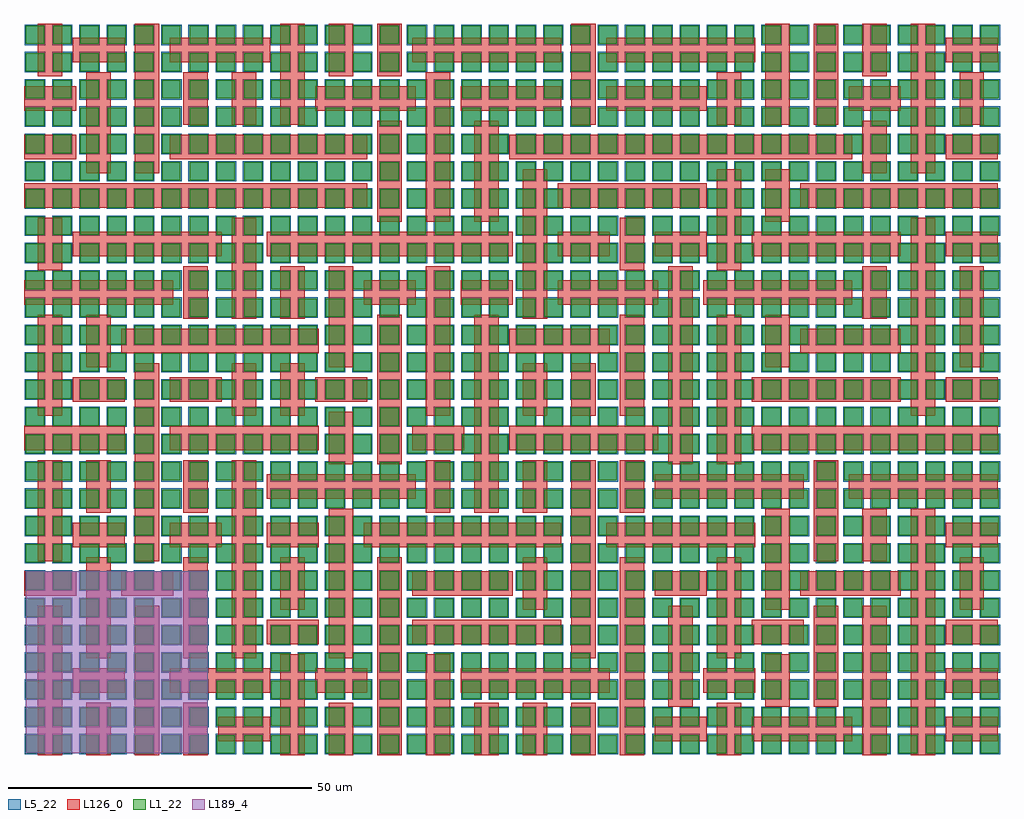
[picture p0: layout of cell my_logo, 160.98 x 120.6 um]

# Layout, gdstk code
import gdstk
lib = gdstk.Library(unit=1e-6, precision=1e-09)
def R(c, l, rs):  # rectangles x0, y0, x1, y1
    for r in rs: c.add(gdstk.rectangle(r[:2], r[2:], *l))
def A(c, l, x, y, w, h, nx, ny, dx, dy):  # array of equal rectangles
    R(c, l, [(x+i*dx, y+j*dy, x+i*dx+w, y+j*dy+h) for i in range(nx) for j in range(ny)])
L1_22 = (1, 22)
L5_22 = (5, 22)
L126_0 = (126, 0)
L189_4 = (189, 4)

my_logo = lib.new_cell('my_logo')
A(my_logo, L1_22, 0, 0, 3, 3, 36, 27, 4.5, 4.5)
A(my_logo, L5_22, -0.18, -0.18, 3.36, 3.36, 36, 27, 4.5, 4.5)
A(my_logo, L126_0, 26, -0.3, 4, 8.6, 3, 1, 24, 0)
A(my_logo, L126_0, 151.7, 2, 8.6, 4, 1, 3, 0, 8)
A(my_logo, L126_0, 7.7, 34, 8.6, 4, 3, 1, 16, 0)
A(my_logo, L126_0, 151.7, 34, 8.6, 4, 1, 3, 0, 24)
A(my_logo, L126_0, 26, 39.7, 4, 8.6, 1, 3, 0, 32)
A(my_logo, L126_0, 66, 39.7, 4, 8.6, 3, 1, 16, 0)
A(my_logo, L126_0, 47.7, 106, 16.6, 4, 3, 1, 24, 0)
R(my_logo, L126_0, [(2,-0.3,6,24.3), (10,-0.3,14,8.3), (18,-0.3,22,24.3), (42,-0.3,46,16.3), (58,-0.3,62,32.3), (66,-0.3,70,16.3), (82,-0.3,86,8.3), (90,-0.3,94,8.3), (98,-0.3,102,32.3), (114,-0.3,118,8.3), (138,-0.3,142,24.3), (146,-0.3,150,40.3), (31.7,2,40.3,6), (103.7,2,112.3,6), (119.7,2,136.3,6), (106,7.7,110,24.3), (122,7.7,126,16.3), (130,7.7,134,24.3), (7.7,10,16.3,14), (23.7,10,40.3,14), (47.7,10,56.3,14), (71.7,10,96.3,14), (111.7,10,120.3,14), (10,15.7,14,32.3), (26,15.7,30,32.3), (34,15.7,38,48.3), (50,15.7,54,40.3), (90,15.7,94,48.3), (114,15.7,118,32.3), (39.7,18,48.3,22), (63.7,18,88.3,22), (119.7,18,128.3,22), (42,23.7,46,32.3), (82,23.7,86,32.3), (122,23.7,126,40.3), (154,23.7,158,32.3), (-0.3,26,8.3,30), (15.7,26,24.3,30), (63.7,26,80.3,30), (103.7,26,112.3,30), (127.7,26,144.3,30), (2,31.7,6,48.3), (18,31.7,22,64.3), (130,31.7,134,48.3), (138,31.7,142,40.3), (55.7,34,88.3,38), (95.7,34,120.3,38), (10,39.7,14,48.3), (74,39.7,78,72.3), (39.7,42,64.3,46), (103.7,42,128.3,46), (135.7,42,160.3,46), (50,47.7,54,56.3), (58,47.7,62,72.3), (106,47.7,110,80.3), (114,47.7,118,72.3), (-0.3,50,16.3,54), (23.7,50,48.3,54), (63.7,50,72.3,54), (79.7,50,104.3,54), (119.7,50,160.3,54), (2,55.7,6,72.3), (34,55.7,38,64.3), (42,55.7,46,64.3), (66,55.7,70,80.3), (82,55.7,86,64.3), (90,55.7,94,64.3), (98,55.7,102,72.3), (146,55.7,150,88.3), (7.7,58,16.3,62), (23.7,58,32.3,62), (47.7,58,56.3,62), (119.7,58,144.3,62), (10,63.7,14,72.3), (50,63.7,54,80.3), (122,63.7,126,72.3), (154,63.7,158,80.3), (15.7,66,48.3,70), (79.7,66,96.3,70), (127.7,66,144.3,70), (34,71.7,38,88.3), (42,71.7,46,80.3), (82,71.7,86,96.3), (138,71.7,142,80.3), (-0.3,74,24.3,78), (55.7,74,64.3,78), (71.7,74,80.3,78), (87.7,74,104.3,78), (111.7,74,136.3,78), (2,79.7,6,88.3), (98,79.7,102,88.3), (114,79.7,118,96.3), (7.7,82,32.3,86), (39.7,82,80.3,86), (87.7,82,96.3,86), (103.7,82,112.3,86), (119.7,82,144.3,86), (58,87.7,62,104.3), (66,87.7,70,112.3), (74,87.7,78,104.3), (122,87.7,126,96.3), (-0.3,90,56.3,94), (87.7,90,112.3,94), (127.7,90,160.3,94), (10,95.7,14,112.3), (18,95.7,22,120.3), (138,95.7,142,104.3), (146,95.7,150,120.3), (-0.3,98,8.3,102), (23.7,98,56.3,102), (79.7,98,136.3,102), (151.7,98,160.3,102), (34,103.7,38,112.3), (42,103.7,46,120.3), (90,103.7,94,120.3), (114,103.7,118,112.3), (122,103.7,126,120.3), (130,103.7,134,120.3), (154,103.7,158,112.3), (-0.3,106,8.3,110), (135.7,106,144.3,110), (2,111.7,6,120.3), (50,111.7,54,120.3), (58,111.7,62,120.3), (138,111.7,142,120.3), (7.7,114,16.3,118), (23.7,114,40.3,118), (63.7,114,88.3,118), (95.7,114,120.3,118), (151.7,114,160.3,118)])
R(my_logo, L189_4, [(0,0,30,30)])

lib.write_gds('my_logo.gds')
